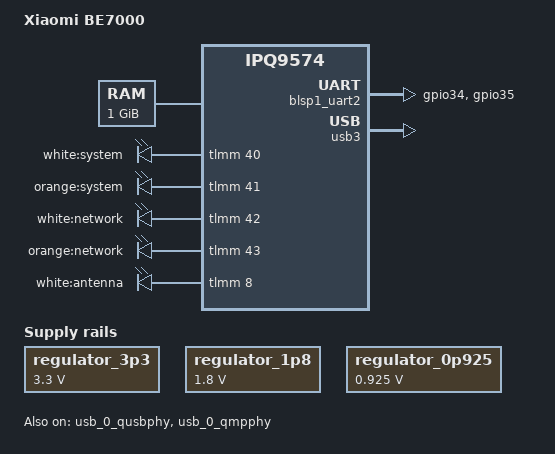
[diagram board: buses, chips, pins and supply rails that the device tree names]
// SPDX-License-Identifier: (GPL-2.0+ OR BSD-3-Clause)
/* BE7000 wiring and stock firmware memory reservations. */
#include <dt-bindings/gpio/gpio.h>
#include "ipq9574.dtsi"
#include "ipq9574-be7000-nand.dtsi"

/ {
	model = "Xiaomi BE7000";
	compatible = "xiaomi,be7000", "qcom,ipq9574";
	/* Xiaomi bootloader values for this IPQ9554 v1.1, in QSDK's LE format. */
	cpu_type = [00 02 00 00];
	soc_version_major = [01 00 00 00];
	soc_version_minor = [01 00 00 00];
	aliases {
		led-boot = &led_sys_orange;
		led-failsafe = &led_sys_orange;
		led-running = &led_sys_white;
		led-upgrade = &led_sys_orange;
		serial0 = &blsp1_uart2;
	};
	chosen {
		stdout-path = "serial0:115200n8";
		bootargs = "console=ttyMSM0,115200n8 earlycon root=/dev/ram0 rdinit=/usr/libexec/be7000-usb-init maxcpus=4 be7000_printk=1 be7000_handoff=1 loglevel=7 pcie_pme=nomsi";
		bootargs-append = " pcie_port_pm=off";
	};
	memory@40000000 {
		reg = <0 0x40000000 0 0x40000000>;
	};
	leds {
		compatible = "gpio-leds";
		pinctrl-0 = <&leds_pins>;
		pinctrl-names = "default";

		led_sys_white: led-system-white {
			label = "white:system";
			gpios = <&tlmm 40 GPIO_ACTIVE_HIGH>;
			default-state = "off";
		};

		led_sys_orange: led-system-orange {
			label = "orange:system";
			gpios = <&tlmm 41 GPIO_ACTIVE_HIGH>;
			default-state = "on";
		};

		led-network-white {
			label = "white:network";
			gpios = <&tlmm 42 GPIO_ACTIVE_HIGH>;
			default-state = "off";
		};

		led-network-orange {
			label = "orange:network";
			gpios = <&tlmm 43 GPIO_ACTIVE_HIGH>;
			default-state = "off";
		};

		led-antenna-white {
			label = "white:antenna";
			gpios = <&tlmm 8 GPIO_ACTIVE_HIGH>;
			default-state = "off";
		};
	};
	reserved-memory {
		tzapp@49b00000 { reg = <0 0x49b00000 0 0x600000>; no-map; };
		/delete-node/ bootloader@4a000000;
		bootloader@4a100000 { reg = <0 0x4a100000 0 0x400000>; no-map; };
		q6_region: wcnss@4ab00000 { reg = <0 0x4ab00000 0 0x2b00000>; no-map; };
		m3_dump: m3-dump@4d600000 { reg = <0 0x4d600000 0 0x100000>; no-map; };
		q6_etr_region: q6-etr@4d700000 { reg = <0 0x4d700000 0 0x100000>; no-map; };
		q6_caldb_region: q6-caldb@4d800000 { reg = <0 0x4d800000 0 0x500000>; no-map; };
		rsvd1@4fa00000 { reg = <0 0x4fa00000 0 0x40000>; no-map; };
		rsvd2@4fb00000 { reg = <0 0x4fb00000 0 0x40000>; no-map; };
		qcn9224_pcie2: qcn9224-pcie2@54100000 { reg = <0 0x54100000 0 0x3200000>; no-map; };
		qcn9224_pcie3: qcn9224-pcie3@57300000 { reg = <0 0x57300000 0 0x3200000>; no-map; };
	};
	regulator_3p3: regulator-3p3 {
		compatible = "regulator-fixed";
		regulator-name = "fixed_3p3";
		regulator-min-microvolt = <3300000>;
		regulator-max-microvolt = <3300000>;
		regulator-always-on;
		regulator-boot-on;
	};
	/* Stock leaves USB rails enabled without an RPM L5 resource. */
	regulator_1p8: regulator-1p8 {
		compatible = "regulator-fixed";
		regulator-name = "fixed_1p8";
		regulator-min-microvolt = <1800000>;
		regulator-max-microvolt = <1800000>;
		regulator-always-on;
		regulator-boot-on;
	};
	regulator_0p925: regulator-0p925 {
		compatible = "regulator-fixed";
		regulator-name = "fixed_0p925";
		regulator-min-microvolt = <925000>;
		regulator-max-microvolt = <925000>;
		regulator-always-on;
		regulator-boot-on;
	};
};

&xo_clk { clock-frequency = <48000000>; };
&ref_48mhz_clk { clock-mult = <1>; clock-div = <1>; };
&xo_board_clk { clock-mult = <1>; clock-div = <2>; };
&sleep_clk { clock-frequency = <32000>; };

&cpu0 { cpu-supply = <&ipq9574_s1>; };
&cpu1 {
	cpu-supply = <&ipq9574_s1>;
	enable-method = "spin-table";
	cpu-release-addr = <0 0x4fb3eff8>;
};
&cpu2 {
	cpu-supply = <&ipq9574_s1>;
	enable-method = "spin-table";
	cpu-release-addr = <0 0x4fb3eff8>;
};
&cpu3 {
	cpu-supply = <&ipq9574_s1>;
	enable-method = "spin-table";
	cpu-release-addr = <0 0x4fb3eff8>;
};

&rpm_requests {
	regulators {
		compatible = "qcom,rpm-ipq9574-mp5496-regulators";
		ipq9574_s1: s1 {
			regulator-min-microvolt = <587500>;
			regulator-max-microvolt = <1075000>;
			regulator-always-on;
		};
		ipq9574_s2: s2 {
			regulator-min-microvolt = <700000>;
			regulator-max-microvolt = <1000000>;
			regulator-always-on;
		};
		ipq9574_s4: s4 {
			regulator-min-microvolt = <1>;
			regulator-max-microvolt = <9>;
			regulator-always-on;
		};
	};
};

&blsp1_uart2 {
	pinctrl-0 = <&uart2_pins>;
	pinctrl-names = "default";
	status = "okay";
};

&usb_0_qusbphy {
	vdd-supply = <&regulator_0p925>;
	vdda-pll-supply = <&regulator_1p8>;
	vdda-phy-dpdm-supply = <&regulator_3p3>;
	status = "okay";
};
&usb_0_qmpphy {
	vdda-pll-supply = <&regulator_1p8>;
	vdda-phy-supply = <&regulator_0p925>;
	status = "okay";
};
&usb3 { status = "okay"; };

/* RAM/USB build: neither NAND nor SPI flash is exposed. */
&tlmm {
	leds_pins: leds-state {
		pins = "gpio8", "gpio40", "gpio41", "gpio42", "gpio43";
		function = "gpio";
		drive-strength = <8>;
		bias-pull-down;
	};
	uart2_pins: uart2-state {
		pins = "gpio34", "gpio35";
		function = "blsp2_uart";
		drive-strength = <8>;
		bias-disable;
	};
	be7000_mdio_pins: mdio-state {
		mdc-pins {
			pins = "gpio38";
			function = "mdc";
			drive-strength = <8>;
			bias-disable;
		};
		mdio-pins {
			pins = "gpio39";
			function = "mdio";
			drive-strength = <8>;
			bias-pull-up;
		};
	};
};
